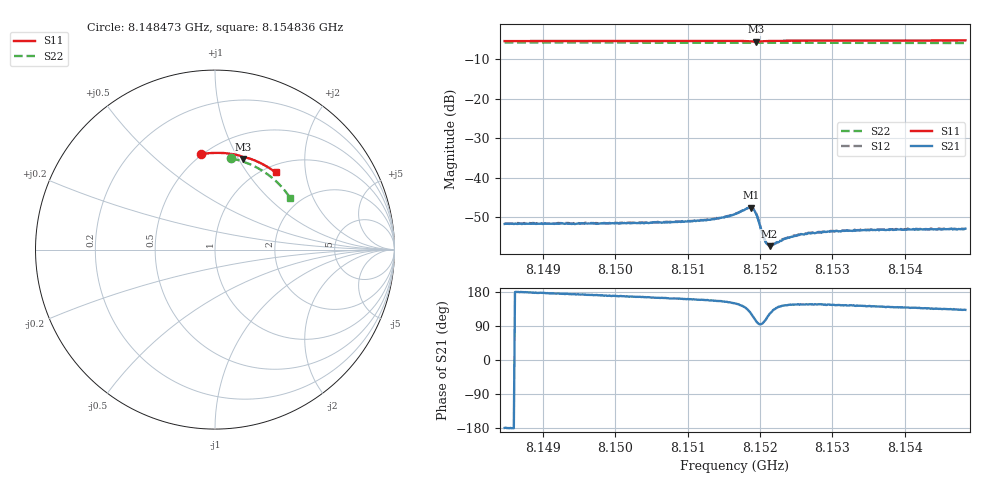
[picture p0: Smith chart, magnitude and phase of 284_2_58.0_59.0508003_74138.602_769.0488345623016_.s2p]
#  HZ  S  RI  R  50.00
! Rohde & Schwarz Vector Network Analyzer
! Rohde-Schwarz,ZNB20-2Port,1311601062101988,3.16
! Created: UTC 3/21/2024, 1:03:00 AM
! freq[Hz]  re:S11  im:S11  re:S21  im:S21  re:S12  im:S12  re:S22  im:S22
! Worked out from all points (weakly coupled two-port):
!   401 points, 8.148473 GHz to 8.154836 GHz, reference 50 ohm
!   highest |S21| = -47.50 dB at 8.151877 GHz (marker M1); lowest = -57.3 dB at 8.152131 GHz (marker M2)
!   lowest |S11| = -5.5 dB at 8.15194 GHz (marker M3), VSWR 3.25, Z = 37.2 + j52.3 ohm
!   |S11| at or under -10 dB: nowhere
!   |S22| runs from -5.9 to -5.8 dB; largest |S21 - S12| = 0.00012
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8.1484726e9  -0.077 0.5313  -0.00262 -3.63e-05  -0.00268 1.65e-05  0.0894 0.5079
8.1495384e9  -0.00303 0.5388  -0.00263 0.000324  -0.00265 0.000399  0.1567 0.4901
8.1506042e9  0.0712 0.5357  -0.00263 0.000748  -0.00264 0.000751  0.2206 0.4638
8.1510496e9  0.1024 0.5312  -0.00266 0.000961  -0.00268 0.001  0.2459 0.4502
8.1512882e9  0.1192 0.5281  -0.00273 0.00113  -0.00272 0.00118  0.2592 0.4425
8.1514791e9  0.133 0.5247  -0.00285 0.00136  -0.00286 0.00139  0.2695 0.4359
8.1516541e9  0.1461 0.5204  -0.003 0.00178  -0.00299 0.00185  0.279 0.4295
8.1518291e9  0.158 0.5115  -0.00282 0.00303  -0.00277 0.00309  0.2882 0.4228
8.1518768e9  0.1591 0.5076  -0.00224 0.00357  -0.00219 0.00363  0.2906 0.421
8.1519086e9  0.1582 0.5058  -0.00157 0.0037  -0.00154 0.00373  0.292 0.4198
8.1519404e9  0.1567 0.5055  -0.000855 0.00349  -0.000793 0.00357  0.2935 0.4188
8.1519722e9  0.1561 0.507  -0.000361 0.00299  -0.000336 0.00303  0.2951 0.4176
8.1520518e9  0.1599 0.5114  -0.000308 0.00172  -0.000242 0.00173  0.2992 0.4147
8.1520995e9  0.1639 0.5125  -0.000569 0.00134  -0.000546 0.00138  0.3018 0.413
8.1521313e9  0.1667 0.5128  -0.000714 0.00117  -0.00072 0.00121  0.3033 0.4118
8.1521949e9  0.172 0.5125  -0.001 0.00106  -0.000996 0.00107  0.3067 0.4093
8.152354e9  0.1842 0.5099  -0.00141 0.000999  -0.00141 0.001  0.3148 0.4031
8.1525449e9  0.1977 0.5056  -0.00157 0.00107  -0.00159 0.00109  0.3241 0.395
8.1527199e9  0.2097 0.5015  -0.00168 0.00109  -0.0017 0.00114  0.3326 0.3878
8.1531653e9  0.2387 0.4891  -0.00174 0.00124  -0.00174 0.00125  0.3532 0.3681
8.1537857e9  0.2771 0.4696  -0.00168 0.00141  -0.00172 0.00145  0.3799 0.3391
8.1548356e9  0.3378 0.43  -0.00153 0.00169  -0.0015 0.00172  0.4197 0.2859
